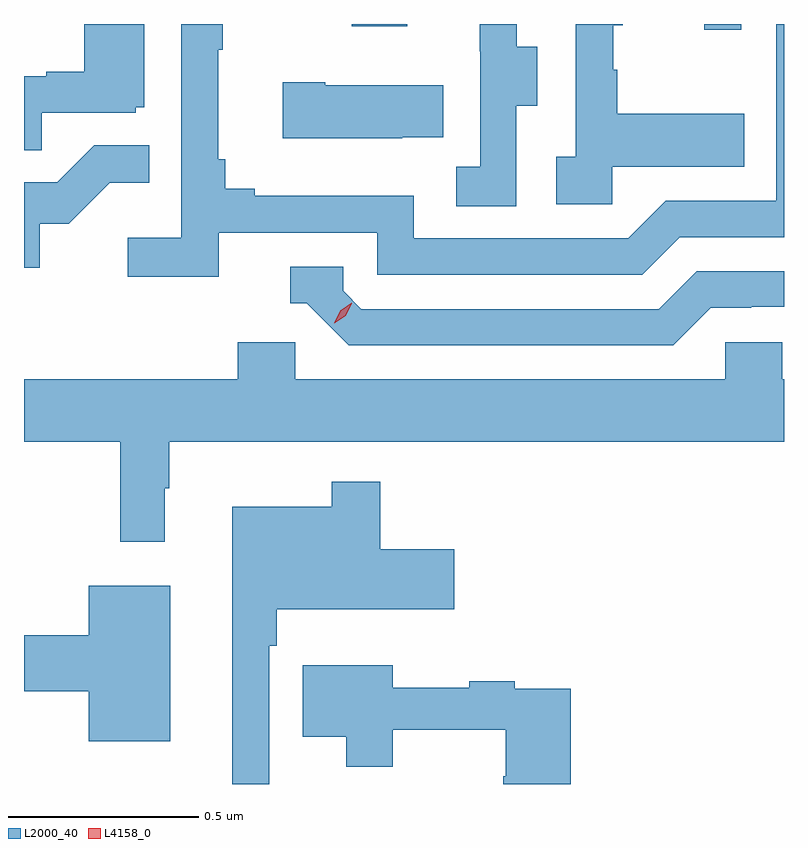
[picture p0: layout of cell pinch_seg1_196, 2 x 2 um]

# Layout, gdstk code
import gdstk
lib = gdstk.Library(unit=1e-6, precision=1e-09)
def R(c, l, rs):  # rectangles x0, y0, x1, y1
    for r in rs: c.add(gdstk.rectangle(r[:2], r[2:], *l))
def P(c, l, *ps):  # polygons
    for p in ps: c.add(gdstk.Polygon(p, *l))
L2000_40 = (2000, 40)
L4158_0 = (4158, 0)

pinch_seg1_196 = lib.new_cell('pinch_seg1_196')
R(pinch_seg1_196, L2000_40, [(1131.344,558.144,1131.441,558.159), (1130.416,558.153,1130.563,558.159)])
P(pinch_seg1_196, L2000_40, [(1131.102,557.783),(1131.449,557.783),(1131.449,557.923),(1131.115,557.923),(1131.115,558.038),(1131.105,558.038),(1131.105,558.156),(1131.13,558.156),(1131.13,558.159),(1131.006,558.159),(1131.006,557.81),(1130.955,557.81),(1130.955,557.685),(1131.102,557.685)],
  [(1129.601,557.925),(1129.848,557.925),(1129.848,557.94),(1129.87,557.94),(1129.87,558.159),(1129.712,558.159),(1129.712,558.034),(1129.613,558.034),(1129.613,558.021),(1129.554,558.021),(1129.554,557.827),(1129.601,557.827)],
  [(1130.85,557.944),(1130.905,557.944),(1130.905,558.099),(1130.851,558.099),(1130.851,558.159),(1130.753,558.159),(1130.753,558.087),(1130.754,558.087),(1130.754,557.783),(1130.691,557.783),(1130.691,557.68),(1130.85,557.68)],
  [(1130.066,557.61),(1130.484,557.61),(1130.484,557.499),(1131.181,557.499),(1131.28,557.598),(1131.554,557.598),(1131.554,558.159),(1131.534,558.159),(1131.534,557.694),(1131.243,557.694),(1131.144,557.595),(1130.58,557.595),(1130.58,557.707),(1130.161,557.707),(1130.161,557.726),(1130.084,557.726),(1130.084,557.803),(1130.065,557.803),(1130.065,558.091),(1130.077,558.091),(1130.077,558.159),(1129.968,558.159),(1129.968,557.596),(1129.827,557.596),(1129.827,557.494),(1130.066,557.494)],
  [(1130.549,557.861),(1130.657,557.861),(1130.657,557.998),(1130.347,557.998),(1130.347,558.006),(1130.235,558.006),(1130.235,557.858),(1130.549,557.858)],
  [(1129.596,557.634),(1129.672,557.634),(1129.779,557.741),(1129.883,557.741),(1129.883,557.84),(1129.739,557.84),(1129.641,557.742),(1129.554,557.742),(1129.554,557.517),(1129.596,557.517)],
  [(1131.361,557.412),(1131.468,557.412),(1131.468,557.415),(1131.554,557.415),(1131.554,557.508),(1131.324,557.508),(1131.225,557.409),(1130.442,557.409),(1130.394,557.457),(1130.394,557.52),(1130.255,557.52),(1130.255,557.424),(1130.298,557.424),(1130.409,557.313),(1131.262,557.313)],
  [(1129.924,556.937),(1129.936,556.937),(1129.936,557.06),(1131.554,557.06),(1131.554,557.224),(1131.549,557.224),(1131.549,557.322),(1131.399,557.322),(1131.399,557.224),(1130.268,557.224),(1130.268,557.322),(1130.117,557.322),(1130.117,557.224),(1129.554,557.224),(1129.554,557.06),(1129.807,557.06),(1129.807,556.797),(1129.924,556.797)],
  [(1130.199,556.523),(1130.219,556.523),(1130.219,556.619),(1130.686,556.619),(1130.686,556.777),(1130.492,556.777),(1130.492,556.954),(1130.364,556.954),(1130.364,556.888),(1130.102,556.888),(1130.102,556.159),(1130.199,556.159)],
  [(1129.939,556.681),(1129.724,556.681),(1129.724,556.55),(1129.554,556.55),(1129.554,556.403),(1129.724,556.403),(1129.724,556.271),(1129.939,556.271)],
  [(1130.993,556.41),(1130.846,556.41),(1130.846,556.43),(1130.726,556.43),(1130.726,556.412),(1130.524,556.412),(1130.524,556.471),(1130.288,556.471),(1130.288,556.283),(1130.402,556.283),(1130.402,556.205),(1130.524,556.205),(1130.524,556.302),(1130.822,556.302),(1130.822,556.179),(1130.815,556.179),(1130.815,556.159),(1130.993,556.159)])
P(pinch_seg1_196, L4158_0, [(1130.37,557.371),(1130.37,557.371),(1130.386,557.404),(1130.416,557.425),(1130.417,557.425),(1130.417,557.424),(1130.401,557.391),(1130.371,557.371)])

lib.write_gds('pinch_seg1_196.gds')
